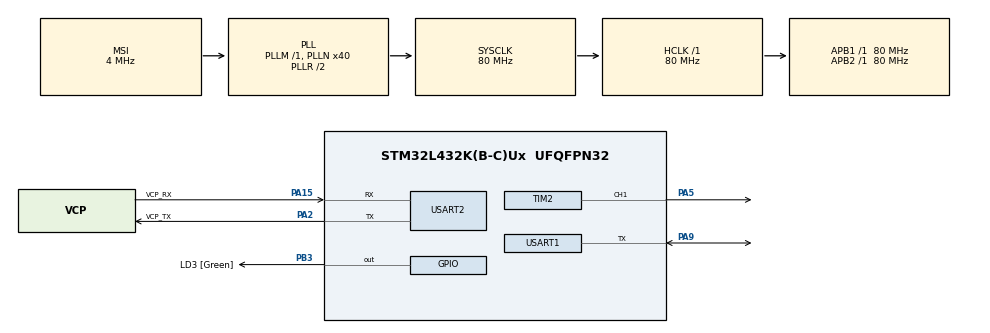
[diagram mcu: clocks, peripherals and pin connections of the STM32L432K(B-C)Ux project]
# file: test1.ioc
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Mcu.Family=STM32L4
Mcu.Name=STM32L432K(B-C)Ux
Mcu.Package=UFQFPN32
NVIC.PriorityGroup=NVIC_PRIORITYGROUP_4
NVIC.USART1_IRQn=true\:0\:0\:false\:false\:true\:true\:true\:true
NVIC.USART2_IRQn=true\:0\:0\:false\:false\:true\:true\:true\:true
PA0.GPIO_Label=MCO [High speed clock in]
PA0.Signal=RCC_CK_IN
PA13\ (JTMS-SWDIO).GPIO_Label=SWDIO
PA13\ (JTMS-SWDIO).Mode=Serial_Wire
PA13\ (JTMS-SWDIO).Signal=SYS_JTMS-SWDIO
PA14\ (JTCK-SWCLK).GPIO_Label=SWCLK
PA14\ (JTCK-SWCLK).Mode=Serial_Wire
PA14\ (JTCK-SWCLK).Signal=SYS_JTCK-SWCLK
PA15\ (JTDI).GPIO_Label=VCP_RX
PA15\ (JTDI).Mode=Asynchronous
PA15\ (JTDI).Signal=USART2_RX
PA2.GPIO_Label=VCP_TX
PA2.Mode=Asynchronous
PA2.Signal=USART2_TX
PA5.Signal=S_TIM2_CH1
PA9.GPIO_PuPdOD=GPIO_NOPULL
PA9.Mode=Half_duplex(single_wire_mode)
PA9.Signal=USART1_TX
PB3\ (JTDO-TRACESWO).GPIO_Label=LD3 [Green]
PB3\ (JTDO-TRACESWO).Signal=GPIO_Output
PC14-OSC32_IN\ (PC14).Signal=RCC_OSC32_IN
PC15-OSC32_OUT\ (PC15).Signal=RCC_OSC32_OUT
ProjectManager.HeapSize=0x200
ProjectManager.StackSize=0x400
ProjectManager.TargetToolchain=STM32CubeIDE
RCC.ADCFreq_Value=16000000
RCC.AHBFreq_Value=80000000
RCC.APB1Freq_Value=80000000
RCC.APB1TimFreq_Value=80000000
RCC.APB2Freq_Value=80000000
RCC.APB2TimFreq_Value=80000000
RCC.CortexFreq_Value=80000000
RCC.HCLKFreq_Value=80000000
RCC.HSI16_VALUE=16000000
RCC.HSI48_VALUE=48000000
RCC.HSI_VALUE=16000000
RCC.MSI_VALUE=4000000
RCC.PLLMUL=RCC_PLLMUL_4
RCC.PLLN=40
RCC.SYSCLKFreq_VALUE=80000000
RCC.SYSCLKSource=RCC_SYSCLKSOURCE_PLLCLK
RCC.USBFreq_Value=16000000
RCC.VCOOutputFreq_Value=160000000
SH.S_TIM2_CH1.0=TIM2_CH1,PWM Generation1 CH1
TIM2.Channel-PWM\ Generation1\ CH1=TIM_CHANNEL_1
TIM2.Period=19999
TIM2.Prescaler=79
USART1.BaudRate=57600
USART1.RxPinLevelInvertParam=ADVFEATURE_RXINV_DISABLE
USART1.TxPinLevelInvertParam=ADVFEATURE_TXINV_DISABLE
USART1.VirtualMode-Half_duplex(single_wire_mode)=VM_ASYNC
USART2.VirtualMode-Asynchronous=VM_ASYNC
board=NUCLEO-L432KC

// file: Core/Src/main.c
/* USER CODE BEGIN Header */
/**
  ******************************************************************************
  * @file           : main.c
  * @brief          : Main program body
  ******************************************************************************
  * @attention
  *
  * Copyright (c) 2022 STMicroelectronics.
  * All rights reserved.
  *
  * This software is licensed under terms that can be found in the LICENSE file
  * in the root directory of this software component.
  * If no LICENSE file comes with this software, it is provided AS-IS.
  *
  ******************************************************************************
  */
/* USER CODE END Header */
#include "main.h"
#include "tim.h"
#include "usart.h"
#include "gpio.h"

/* USER CODE BEGIN Includes */
#include "dynamixel.h"
/* USER CODE END Includes */

void SystemClock_Config(void);

/* USER CODE BEGIN 0 */
uint16_t ui16gPwm = 1500;
uint16_t ui16gPwmACtual = 1500;
uint16_t ui16AngleMin = 500;
uint16_t ui16AngleMax = 2500;
uint16_t ui16AngleX10 = 2700;
uint16_t ui16AngleCenter = 1350;

uint16_t ui16LenRxLen;
uint16_t ui16LenTxLen;
/* USER CODE END 0 */

int main(void)
{
  /* USER CODE BEGIN 1 */
	  uint32_t ui32Val;
	  uint32_t ui32Val2;
  /* USER CODE END 1 */

  /* MCU Configuration--------------------------------------------------------*/

  /* Reset of all peripherals, Initializes the Flash interface and the Systick. */
  HAL_Init();

  /* Configure the system clock */
  SystemClock_Config();

  /* Initialize all configured peripherals */
  MX_GPIO_Init();
  MX_USART1_UART_Init();
  MX_USART2_UART_Init();
  MX_TIM2_Init();
  /* USER CODE BEGIN 2 */
  HAL_TIM_PWM_Start(&htim2,TIM_CHANNEL_1);
  htim2.Instance->CCR1 = 1500;
  dynamixelInit(&dyn, 3);

  /* USER CODE END 2 */

  /* Infinite loop */
  /* USER CODE BEGIN WHILE */
  while (1)
  {
	  if(HAL_UARTEx_ReceiveToIdle(&huart1, pui8BufferRX, 256, &ui16LenRxLen, 100) == HAL_OK)
	  {
		  //decode packet
		  if (decode_packet(&dyn, pui8BufferRX, ui16LenRxLen) == true)
		  {
			  if (dyn.request.bValid)
			  {
				  dyn.response.ui8Instruction = dyn.request.ui8Instruction;
				  dyn.response.ui8Id = dyn.ui8Id;
				  dyn.response.pui8Buffer = &pui8BufferTX[9];
				  dyn.response.ui8Error = 0;
				  switch (dyn.request.ui8Instruction)
				  {
					  //Ping
					  case 0x1:
					  dyn.response.pui8Buffer[0] = 0x06; //Fake XM430 W210
					  dyn.response.pui8Buffer[1] = 0x04;
					  dyn.response.pui8Buffer[2] = 0x26;
					  dyn.response.ui16Length = 3;
					  break;

					  //Read Address
					  case 0x2:
					  dyn.response.ui16Address = dyn.request.ui16Address;
					  dyn.response.ui16Length = dyn.request.ui16Length; //Request data and Address
					  memcpy(&dyn.response.pui8Buffer[0], &dynBuffer[dyn.request.ui16Address], dyn.request.ui16Length);

					  break;
					  //Write Address
					  case 0x3:
					  dyn.response.ui16Length = 0;
					  memcpy(&dynBuffer[dyn.request.ui16Address],dyn.request.pui8Buffer, dyn.request.ui16Length);

					  break;
					  default:
					  break;
				  }
				  ui16LenTxLen = encode_packet(&dyn, pui8BufferTX);
				  HAL_Delay(2);
				  if (HAL_UART_Transmit(&huart1, pui8BufferTX, ui16LenTxLen, 150) != HAL_OK)
				  {
					  HAL_Delay(1);
				  }
				  //Clear Uart rx back noise from tx
				  HAL_UART_Abort(&huart1);

			  }
		  }
	  }

    /* USER CODE END WHILE */

    /* USER CODE BEGIN 3 */
	if (HAL_GetTick() >  1000)
	{
	  //OFF the PWM motor
	  ui16gPwm = 0;
	  if (getValue(Torque_Enable,&ui32Val) == true)
	  {
		  if (ui32Val == 1)
		  {
			  if (getValue(Goal_Position,&ui32Val) == true)
			  {
				  //-135 gradi
				  if (ui32Val<512)
					  ui32Val = 512;
				  //+135
				  if (ui32Val>3584)
					  ui32Val = 3584;
				  //0 is -135
				  ui32Val = ui32Val-512;
				  //convert in ms
				  ui32Val = (ui32Val*2000)/3072;
				  //Convert degree in time pwm

 				  /*
 				   	uint16_t ui16gPwm = 1500;
					uint16_t ui16AngleMin = 500;
					uint16_t ui16AngleMax = 2500;
					uint16_t ui16AngleX10 = 2700;
					uint16_t ui16AngleCenter = 1350;
				   * */
				  if (getValue(Drive_Mode,&ui32Val2) == true)
				  {
					  if ((ui32Val2&0x1)==1)
					  {
						  ui16gPwm = 2500 - ui32Val;

					  }
					  else
					  {
						  ui16gPwm = 500 + ui32Val;

					  }
				  }

			  }

		  }
	  }

	  htim2.Instance->CCR1 = ui16gPwm;
	  //gPwm += ui8Dir;
	  //ui8Dir *= ((gPwm > 2500)||(gPwm < 500)) ? -1 : 1;
	}
  }
  /* USER CODE END 3 */
}

void SystemClock_Config(void)
{
  RCC_OscInitTypeDef RCC_OscInitStruct = {0};
  RCC_ClkInitTypeDef RCC_ClkInitStruct = {0};

  /** Configure the main internal regulator output voltage
  */
  if (HAL_PWREx_ControlVoltageScaling(PWR_REGULATOR_VOLTAGE_SCALE1) != HAL_OK)
  {
    Error_Handler();
  }

  /** Initializes the RCC Oscillators according to the specified parameters
  * in the RCC_OscInitTypeDef structure.
  */
  RCC_OscInitStruct.OscillatorType = RCC_OSCILLATORTYPE_MSI;
  RCC_OscInitStruct.MSIState = RCC_MSI_ON;
  RCC_OscInitStruct.MSICalibrationValue = 0;
  RCC_OscInitStruct.MSIClockRange = RCC_MSIRANGE_6;
  RCC_OscInitStruct.PLL.PLLState = RCC_PLL_ON;
  RCC_OscInitStruct.PLL.PLLSource = RCC_PLLSOURCE_MSI;
  RCC_OscInitStruct.PLL.PLLM = 1;
  RCC_OscInitStruct.PLL.PLLN = 40;
  RCC_OscInitStruct.PLL.PLLP = RCC_PLLP_DIV7;
  RCC_OscInitStruct.PLL.PLLQ = RCC_PLLQ_DIV2;
  RCC_OscInitStruct.PLL.PLLR = RCC_PLLR_DIV2;
  if (HAL_RCC_OscConfig(&RCC_OscInitStruct) != HAL_OK)
  {
    Error_Handler();
  }

  /** Initializes the CPU, AHB and APB buses clocks
  */
  RCC_ClkInitStruct.ClockType = RCC_CLOCKTYPE_HCLK|RCC_CLOCKTYPE_SYSCLK
                              |RCC_CLOCKTYPE_PCLK1|RCC_CLOCKTYPE_PCLK2;
  RCC_ClkInitStruct.SYSCLKSource = RCC_SYSCLKSOURCE_PLLCLK;
  RCC_ClkInitStruct.AHBCLKDivider = RCC_SYSCLK_DIV1;
  RCC_ClkInitStruct.APB1CLKDivider = RCC_HCLK_DIV1;
  RCC_ClkInitStruct.APB2CLKDivider = RCC_HCLK_DIV1;

  if (HAL_RCC_ClockConfig(&RCC_ClkInitStruct, FLASH_LATENCY_4) != HAL_OK)
  {
    Error_Handler();
  }
}

void Error_Handler(void)
{
  __disable_irq();
  while (1)
  {
  }
}
